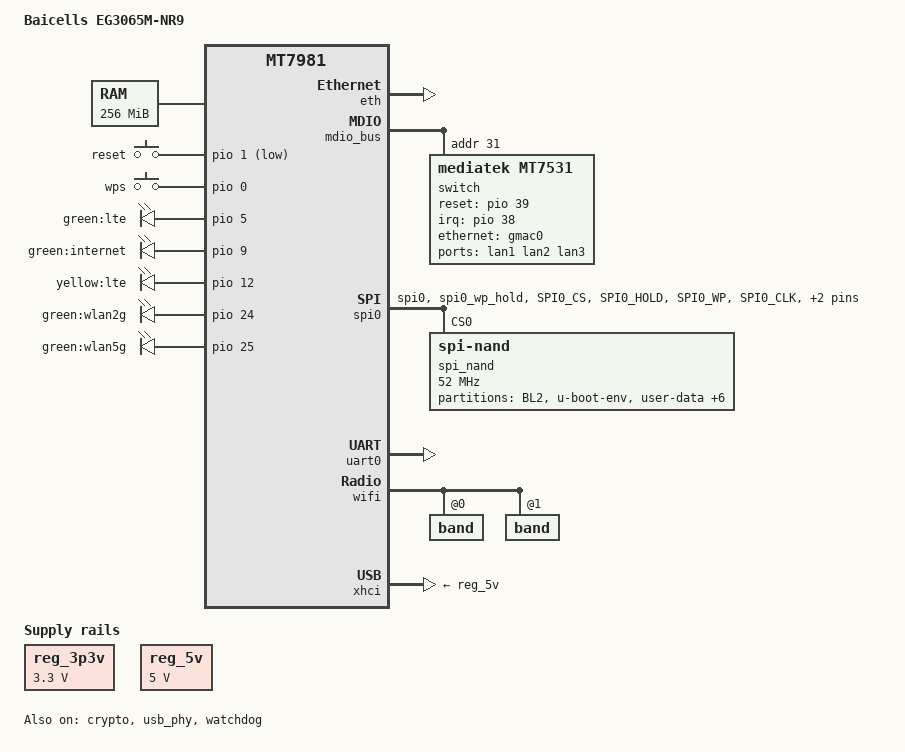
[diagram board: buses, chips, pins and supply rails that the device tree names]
// SPDX-License-Identifier: (GPL-2.0 OR MIT)

/dts-v1/;
#include <dt-bindings/leds/common.h>
#include "mt7981b.dtsi"

/ {
	model = "Baicells EG3065M-NR9";
	compatible = "baicells,eg3065m-nr9", "mediatek,mt7981";

	aliases {
		label-mac-device = &gmac0;
		serial0 = &uart0;
	};

	chosen: chosen {
		stdout-path = "serial0:115200n8";
	};

	memory@40000000 {
		reg = <0 0x40000000 0 0x10000000>;
		device_type = "memory";
	};

	gpio-keys {
		compatible = "gpio-keys";

		reset {
			label = "reset";
			linux,code = <KEY_RESTART>;
			gpios = <&pio 1 GPIO_ACTIVE_LOW>;
		};

		wps {
			label = "wps";
			linux,code = <KEY_WPS_BUTTON>;
			gpios = <&pio 0 GPIO_ACTIVE_HIGH>;
		};
	};

	leds {
		compatible = "gpio-leds";

		led_lte: lte {
			label = "green:lte";
			gpios = <&pio 5 GPIO_ACTIVE_HIGH>;
		};

		led_internet: internet {
			label = "green:internet";
			gpios = <&pio 9 GPIO_ACTIVE_HIGH>;
		};

		lte-activity {
			label = "yellow:lte";
			gpios = <&pio 12 GPIO_ACTIVE_HIGH>;
		};

		wlan2g {
			label = "green:wlan2g";
			gpios = <&pio 24 GPIO_ACTIVE_HIGH>;
			linux,default-trigger = "phy0tpt";
		};

		wlan5g {
			label = "green:wlan5g";
			gpios = <&pio 25 GPIO_ACTIVE_HIGH>;
			linux,default-trigger = "phy1tpt";
		};
	};

	reg_3p3v: regulator-3p3v {
		compatible = "regulator-fixed";
		regulator-name = "fixed-3.3V";
		regulator-min-microvolt = <3300000>;
		regulator-max-microvolt = <3300000>;
		regulator-boot-on;
		regulator-always-on;
	};

	reg_5v: regulator-5v {
		compatible = "regulator-fixed";
		regulator-name = "fixed-5V";
		regulator-min-microvolt = <5000000>;
		regulator-max-microvolt = <5000000>;
		regulator-boot-on;
		regulator-always-on;
	};
};

&eth {
	pinctrl-names = "default";
	pinctrl-0 = <&mdio_pins>;
	status = "okay";

	gmac0: mac@0 {
		compatible = "mediatek,eth-mac";
		reg = <0>;
		phy-mode = "2500base-x";
		nvmem-cells = <&macaddr_lan>;
		nvmem-cell-names = "mac-address";

		fixed-link {
			speed = <2500>;
			full-duplex;
			pause;
		};
	};

	/* internal GbE PHY is not wired to a connector */
	gmac1: mac@1 {
		compatible = "mediatek,eth-mac";
		reg = <1>;
		phy-mode = "gmii";
		phy-handle = <&int_gbe_phy>;
		status = "disabled";
	};
};

&mdio_bus {
	switch: switch@1f {
		compatible = "mediatek,mt7531";
		reg = <31>;
		interrupt-controller;
		#interrupt-cells = <1>;
		interrupt-parent = <&pio>;
		interrupts = <38 IRQ_TYPE_LEVEL_HIGH>;
		reset-gpios = <&pio 39 GPIO_ACTIVE_HIGH>;
	};
};

&switch {
	ports {
		#address-cells = <1>;
		#size-cells = <0>;

		port@0 {
			reg = <0>;
			label = "lan1";
		};

		port@1 {
			reg = <1>;
			label = "lan2";
		};

		port@2 {
			reg = <2>;
			label = "lan3";
		};

		port@6 {
			reg = <6>;
			ethernet = <&gmac0>;
			phy-mode = "2500base-x";

			fixed-link {
				speed = <2500>;
				full-duplex;
				pause;
			};
		};
	};
};

&pio {
	spi0_flash_pins: spi0-pins {
		mux {
			function = "spi";
			groups = "spi0", "spi0_wp_hold";
		};

		conf-pu {
			pins = "SPI0_CS", "SPI0_HOLD", "SPI0_WP";
			drive-strength = <MTK_DRIVE_8mA>;
			bias-pull-up = <MTK_PUPD_SET_R1R0_11>;
		};

		conf-pd {
			pins = "SPI0_CLK", "SPI0_MOSI", "SPI0_MISO";
			drive-strength = <MTK_DRIVE_8mA>;
			bias-pull-down = <MTK_PUPD_SET_R1R0_11>;
		};
	};
};

&spi0 {
	pinctrl-names = "default";
	pinctrl-0 = <&spi0_flash_pins>;
	status = "okay";

	spi_nand: flash@0 {
		compatible = "spi-nand";
		reg = <0>;

		spi-max-frequency = <52000000>;
		spi-tx-bus-width = <4>;
		spi-rx-bus-width = <4>;

		/* stock U-Boot manages the flash through NMBM */
		mediatek,nmbm;
		mediatek,bmt-max-ratio = <1>;
		mediatek,bmt-max-reserved-blocks = <64>;

		partitions {
			compatible = "fixed-partitions";
			#address-cells = <1>;
			#size-cells = <1>;

			partition@0 {
				label = "BL2";
				reg = <0x0 0x100000>;
				read-only;
			};

			partition@100000 {
				label = "u-boot-env";
				reg = <0x100000 0x40000>;
			};

			partition@140000 {
				label = "user-data";
				reg = <0x140000 0x20000>;
			};

			partition@160000 {
				label = "product";
				reg = <0x160000 0x20000>;
				read-only;

				nvmem-layout {
					compatible = "fixed-layout";
					#address-cells = <1>;
					#size-cells = <1>;

					macaddr_wlan2g: macaddr@ae {
						reg = <0xae 0x6>;
					};

					macaddr_lan: macaddr@b4 {
						reg = <0xb4 0x6>;
					};

					macaddr_wlan5g: macaddr@1d6 {
						reg = <0x1d6 0x6>;
					};
				};
			};

			partition@180000 {
				label = "Factory";
				reg = <0x180000 0x200000>;
				read-only;

				nvmem-layout {
					compatible = "fixed-layout";
					#address-cells = <1>;
					#size-cells = <1>;

					eeprom_factory_0: eeprom@0 {
						reg = <0x0 0x1000>;
					};
				};
			};

			partition@380000 {
				label = "FIP";
				reg = <0x380000 0x200000>;
				read-only;
			};

			partition@580000 {
				label = "ubi";
				reg = <0x580000 0x3600000>;
				compatible = "linux,ubi";
			};

			/* stock firmware slot, kept intact for recovery */
			partition@3b80000 {
				label = "ubi1";
				reg = <0x3b80000 0x3600000>;
				read-only;
			};

			partition@7180000 {
				label = "log";
				reg = <0x7180000 0x680000>;
				read-only;
			};
		};
	};
};

&crypto {
	status = "okay";
};

&uart0 {
	status = "okay";
};

&usb_phy {
	status = "okay";
};

&watchdog {
	status = "okay";
};

&wifi {
	status = "okay";
	nvmem-cells = <&eeprom_factory_0>;
	nvmem-cell-names = "eeprom";
	#address-cells = <1>;
	#size-cells = <0>;

	band@0 {
		reg = <0>;
		nvmem-cells = <&macaddr_wlan2g>;
		nvmem-cell-names = "mac-address";
	};

	band@1 {
		reg = <1>;
		nvmem-cells = <&macaddr_wlan5g>;
		nvmem-cell-names = "mac-address";
	};
};

&xhci {
	vusb33-supply = <&reg_3p3v>;
	vbus-supply = <&reg_5v>;
	status = "okay";
};
